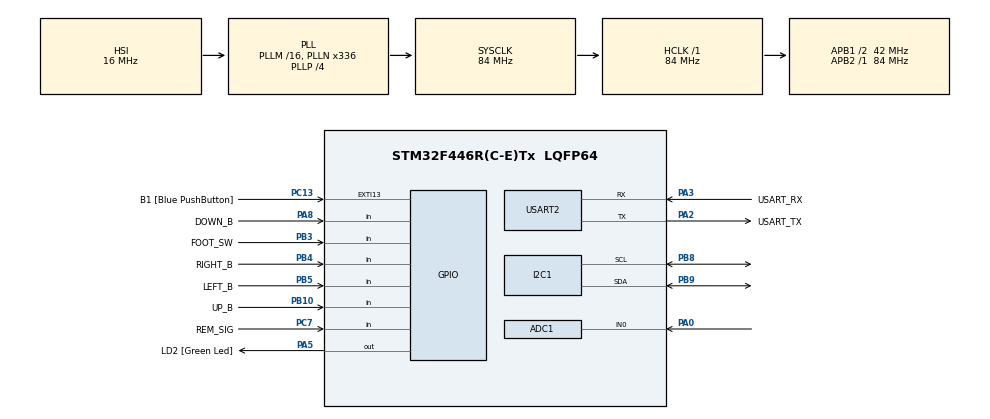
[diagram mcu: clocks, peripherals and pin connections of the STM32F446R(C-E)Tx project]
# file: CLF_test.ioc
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ADC1.Channel-0\#ChannelRegularConversion=ADC_CHANNEL_0
ADC1.ContinuousConvMode=ENABLE
ADC1.NbrOfConversionFlag=1
ADC1.Rank-0\#ChannelRegularConversion=1
ADC1.SamplingTime-0\#ChannelRegularConversion=ADC_SAMPLETIME_480CYCLES
ADC1.ScanConvMode=ENABLE
ADC1.master=1
Dma.ADC1.0.Direction=DMA_PERIPH_TO_MEMORY
Dma.ADC1.0.FIFOMode=DMA_FIFOMODE_DISABLE
Dma.ADC1.0.Instance=DMA2_Stream0
Dma.ADC1.0.MemDataAlignment=DMA_MDATAALIGN_HALFWORD
Dma.ADC1.0.MemInc=DMA_MINC_ENABLE
Dma.ADC1.0.Mode=DMA_CIRCULAR
Dma.ADC1.0.PeriphDataAlignment=DMA_PDATAALIGN_HALFWORD
Dma.ADC1.0.PeriphInc=DMA_PINC_DISABLE
Dma.ADC1.0.Priority=DMA_PRIORITY_LOW
Dma.Request0=ADC1
Mcu.Family=STM32F4
Mcu.Name=STM32F446R(C-E)Tx
Mcu.Package=LQFP64
NVIC.DMA2_Stream0_IRQn=true\:0\:0\:false\:false\:true\:false\:true\:true
NVIC.PriorityGroup=NVIC_PRIORITYGROUP_0
NVIC.TIM2_IRQn=true\:0\:0\:false\:false\:true\:true\:true\:true
PA0-WKUP.Signal=ADCx_IN0
PA13.GPIO_Label=TMS
PA13.Mode=Serial_Wire
PA13.Signal=SYS_JTMS-SWDIO
PA14.GPIO_Label=TCK
PA14.Mode=Serial_Wire
PA14.Signal=SYS_JTCK-SWCLK
PA2.GPIO_Label=USART_TX
PA2.Mode=Asynchronous
PA2.Signal=USART2_TX
PA3.GPIO_Label=USART_RX
PA3.Mode=Asynchronous
PA3.Signal=USART2_RX
PA5.GPIO_Label=LD2 [Green Led]
PA5.Signal=GPIO_Output
PA8.GPIO_Label=DOWN_B
PA8.GPIO_PuPd=GPIO_PULLUP
PA8.Signal=GPIO_Input
PB10.GPIO_Label=UP_B
PB10.GPIO_PuPd=GPIO_PULLUP
PB10.Signal=GPIO_Input
PB3.GPIO_Label=FOOT_SW
PB3.GPIO_PuPd=GPIO_PULLUP
PB3.Signal=GPIO_Input
PB4.GPIO_Label=RIGHT_B
PB4.GPIO_PuPd=GPIO_PULLUP
PB4.Signal=GPIO_Input
PB5.GPIO_Label=LEFT_B
PB5.GPIO_PuPd=GPIO_PULLUP
PB5.Signal=GPIO_Input
PB8.GPIO_Pu=GPIO_PULLUP
PB8.Mode=I2C
PB8.Signal=I2C1_SCL
PB9.GPIO_Pu=GPIO_PULLUP
PB9.Mode=I2C
PB9.Signal=I2C1_SDA
PC13.GPIO_Label=B1 [Blue PushButton]
PC13.GPIO_ModeDefaultEXTI=GPIO_MODE_IT_FALLING
PC13.Signal=GPXTI13
PC14-OSC32_IN.Mode=LSE-External-Oscillator
PC14-OSC32_IN.Signal=RCC_OSC32_IN
PC15-OSC32_OUT.Mode=LSE-External-Oscillator
PC15-OSC32_OUT.Signal=RCC_OSC32_OUT
PC7.GPIO_Label=REM_SIG
PC7.GPIO_PuPd=GPIO_PULLDOWN
PC7.Signal=GPIO_Input
PH0-OSC_IN.Mode=HSE-External-Oscillator
PH0-OSC_IN.Signal=RCC_OSC_IN
PH1-OSC_OUT.Mode=HSE-External-Oscillator
PH1-OSC_OUT.Signal=RCC_OSC_OUT
ProjectManager.HeapSize=0x200
ProjectManager.StackSize=0x400
ProjectManager.TargetToolchain=STM32CubeIDE
RCC.48MHZClocksFreq_Value=84000000
RCC.AHBFreq_Value=84000000
RCC.APB1CLKDivider=RCC_HCLK_DIV2
RCC.APB1Freq_Value=42000000
RCC.APB1TimFreq_Value=84000000
RCC.APB2Freq_Value=84000000
RCC.APB2TimFreq_Value=84000000
RCC.CortexFreq_Value=84000000
RCC.FLatency-AdvancedSettings=FLASH_LATENCY_2
RCC.HCLKFreq_Value=84000000
RCC.HSE_VALUE=8000000
RCC.HSI_VALUE=16000000
RCC.PLLN=336
RCC.PLLP=RCC_PLLP_DIV4
RCC.SYSCLKFreq_VALUE=84000000
RCC.SYSCLKSource=RCC_SYSCLKSOURCE_PLLCLK
RCC.USBFreq_Value=168000000
RCC.VCOOutputFreq_Value=336000000
SH.ADCx_IN0.0=ADC1_IN0,IN0
TIM2.Period=999
TIM2.Prescaler=83
USART2.VirtualMode=VM_ASYNC
VP_TIM2_VS_ClockSourceINT.Mode=Internal
board=NUCLEO-F446RE

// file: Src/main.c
/* USER CODE BEGIN Header */
/**
  ******************************************************************************
  * @file           : main.c
  * @brief          : Main program body
  ******************************************************************************
  * @attention
  *
  * <h2><center>&copy; Copyright (c) 2019 STMicroelectronics.
  * All rights reserved.</center></h2>
  *
  * This software component is licensed by ST under BSD 3-Clause license,
  * the "License"; You may not use this file except in compliance with the
  * License. You may obtain a copy of the License at:
  *                        opensource.org/licenses/BSD-3-Clause
  *
  ******************************************************************************
  */
/* USER CODE END Header */
#include "main.h"

/* USER CODE BEGIN Includes */
#include <stdio.h>
#include <math.h>
#include "ssd1306.h"
#include "fonts.h"
/* USER CODE END Includes */

ADC_HandleTypeDef hadc1;
DMA_HandleTypeDef hdma_adc1;

I2C_HandleTypeDef hi2c1;

TIM_HandleTypeDef htim2;

UART_HandleTypeDef huart2;

/* USER CODE BEGIN PV */
uint16_t adcValue[2];
long tim2_count=0;
float NormalizeParameter[2];
float threshold = 70;
float duration = 10;
float phase = 0;
float phase_ms = 0;
float inactive_time = 0;
float mode = 2;
char buf[32] = {};
/* USER CODE END PV */

void SystemClock_Config(void);
static void MX_GPIO_Init(void);
static void MX_DMA_Init(void);
static void MX_ADC1_Init(void);
static void MX_I2C1_Init(void);
static void MX_TIM2_Init(void);
static void MX_USART2_UART_Init(void);
/* USER CODE BEGIN PFP */
void HAL_TIM_PeriodElapsedCallback(TIM_HandleTypeDef *htim);
void SetUpNormalizeParameter(float NormalizeParameter[2]);
void DrawParameter(int count);
void UserSetUp(void);
/* USER CODE END PFP */

int main(void)
{

  /* MCU Configuration--------------------------------------------------------*/

  /* Reset of all peripherals, Initializes the Flash interface and the Systick. */
  HAL_Init();

  /* Configure the system clock */
  SystemClock_Config();

  /* Initialize all configured peripherals */
  MX_GPIO_Init();
  MX_DMA_Init();
  MX_ADC1_Init();
  MX_I2C1_Init();
  MX_TIM2_Init();
  MX_USART2_UART_Init();
  /* USER CODE BEGIN 2 */

  ssd1306_Init();

  HAL_ADC_Start_DMA(&hadc1,(uint32_t *)adcValue,2); //ADC-DMAを有効化

  HAL_Delay(1000);

  STARTUP_LABEL:

//  sprintf(buf, "START UP\r\n");
//  HAL_UART_Transmit(&huart2, (uint8_t*)buf, sizeof(buf), 10);

  UserSetUp(); //計測開始前設定処理
  SetUpNormalizeParameter(NormalizeParameter); //AD値の平均値と標準偏差を計算

  RESTART_LABEL:

//  sprintf(buf, "RESTART\r\n");
//  HAL_UART_Transmit(&huart2, (uint8_t*)buf, sizeof(buf), 10);

  /*------------Draw LCD BEGIN----------*/
  sprintf(buf, "ave=%d sd=%d", (int)(NormalizeParameter[0]),(int)(NormalizeParameter[1]));
  HAL_UART_Transmit(&huart2, (uint8_t*)buf, sizeof(buf), 0xFFF);

  ssd1306_Fill(White);

  ssd1306_SetCursor(0,0);
  ssd1306_WriteString(buf,Font_7x10,Black);

  sprintf(buf, "Waiting for start");
  ssd1306_SetCursor(0,12);
  ssd1306_WriteString(buf,Font_7x10,Black);

  ssd1306_UpdateScreen();
  /*------------Draw LCD END---------*/

  while(1){ // REMシグナル待ち (計測待機状態)
	  if(HAL_GPIO_ReadPin(GPIOC, REM_SIG_Pin) == 1){
		ssd1306_Fill(White);
		sprintf(buf, "RUNNING");
		ssd1306_SetCursor(0,0);
		ssd1306_WriteString(buf,Font_7x10,Black);
		ssd1306_UpdateScreen();
		HAL_Delay(300);
		break;
	  }
  }

  HAL_TIM_Base_Start_IT(&htim2); //タイマー割り込み機能を有効化 (つまり、割り込み関数である"ピークを発見したらパルスを生む関数"を有効化)
  /* USER CODE END 2 */

  /* Infinite loop */
  /* USER CODE BEGIN WHILE */
  while(1) { //REMシグナルが来ているときに実行する処理

    /* USER CODE END WHILE */

    /* USER CODE BEGIN 3 */
	  if(HAL_GPIO_ReadPin(GPIOC, REM_SIG_Pin) == 0){ //シグナルが終了したら
		HAL_TIM_Base_Stop_IT(&htim2); //タイマー割り込み機能をオフ(もうパルス出す必要ないもんね)
		HAL_Delay(300);
		HAL_GPIO_WritePin(LD2_GPIO_Port,LD2_Pin,RESET);
		goto RESTART_LABEL;
	  }
	  if(HAL_GPIO_ReadPin(GPIOB, RIGHT_B_Pin) == 0){ //右ボタンを押したら強制終了 & 設定に戻る  // <----------------------- ここにフットスイッチのif文の代わりに条件文を入れる
		  HAL_TIM_Base_Stop_IT(&htim2); //タイマー割り込み機能をオフ(もうパルス出す必要ないもんね)
		  HAL_Delay(300);
		  HAL_GPIO_WritePin(LD2_GPIO_Port,LD2_Pin,RESET);
		  goto STARTUP_LABEL;
	 }
  }
  /* USER CODE END 3 */
}

void SystemClock_Config(void)
{
  RCC_OscInitTypeDef RCC_OscInitStruct = {0};
  RCC_ClkInitTypeDef RCC_ClkInitStruct = {0};

  /** Configure the main internal regulator output voltage
  */
  __HAL_RCC_PWR_CLK_ENABLE();
  __HAL_PWR_VOLTAGESCALING_CONFIG(PWR_REGULATOR_VOLTAGE_SCALE3);

  /** Initializes the RCC Oscillators according to the specified parameters
  * in the RCC_OscInitTypeDef structure.
  */
  RCC_OscInitStruct.OscillatorType = RCC_OSCILLATORTYPE_HSI;
  RCC_OscInitStruct.HSIState = RCC_HSI_ON;
  RCC_OscInitStruct.HSICalibrationValue = RCC_HSICALIBRATION_DEFAULT;
  RCC_OscInitStruct.PLL.PLLState = RCC_PLL_ON;
  RCC_OscInitStruct.PLL.PLLSource = RCC_PLLSOURCE_HSI;
  RCC_OscInitStruct.PLL.PLLM = 16;
  RCC_OscInitStruct.PLL.PLLN = 336;
  RCC_OscInitStruct.PLL.PLLP = RCC_PLLP_DIV4;
  RCC_OscInitStruct.PLL.PLLQ = 2;
  RCC_OscInitStruct.PLL.PLLR = 2;
  if (HAL_RCC_OscConfig(&RCC_OscInitStruct) != HAL_OK)
  {
    Error_Handler();
  }

  /** Initializes the CPU, AHB and APB buses clocks
  */
  RCC_ClkInitStruct.ClockType = RCC_CLOCKTYPE_HCLK|RCC_CLOCKTYPE_SYSCLK
                              |RCC_CLOCKTYPE_PCLK1|RCC_CLOCKTYPE_PCLK2;
  RCC_ClkInitStruct.SYSCLKSource = RCC_SYSCLKSOURCE_PLLCLK;
  RCC_ClkInitStruct.AHBCLKDivider = RCC_SYSCLK_DIV1;
  RCC_ClkInitStruct.APB1CLKDivider = RCC_HCLK_DIV2;
  RCC_ClkInitStruct.APB2CLKDivider = RCC_HCLK_DIV1;

  if (HAL_RCC_ClockConfig(&RCC_ClkInitStruct, FLASH_LATENCY_2) != HAL_OK)
  {
    Error_Handler();
  }
}

static void MX_ADC1_Init(void)
{

  ADC_ChannelConfTypeDef sConfig = {0};

  /** Configure the global features of the ADC (Clock, Resolution, Data Alignment and number of conversion)
  */
  hadc1.Instance = ADC1;
  hadc1.Init.ClockPrescaler = ADC_CLOCK_SYNC_PCLK_DIV4;
  hadc1.Init.Resolution = ADC_RESOLUTION_12B;
  hadc1.Init.ScanConvMode = ENABLE;
  hadc1.Init.ContinuousConvMode = ENABLE;
  hadc1.Init.DiscontinuousConvMode = DISABLE;
  hadc1.Init.ExternalTrigConvEdge = ADC_EXTERNALTRIGCONVEDGE_NONE;
  hadc1.Init.ExternalTrigConv = ADC_SOFTWARE_START;
  hadc1.Init.DataAlign = ADC_DATAALIGN_RIGHT;
  hadc1.Init.NbrOfConversion = 1;
  hadc1.Init.DMAContinuousRequests = DISABLE;
  hadc1.Init.EOCSelection = ADC_EOC_SINGLE_CONV;
  if (HAL_ADC_Init(&hadc1) != HAL_OK)
  {
    Error_Handler();
  }

  /** Configure for the selected ADC regular channel its corresponding rank in the sequencer and its sample time.
  */
  sConfig.Channel = ADC_CHANNEL_0;
  sConfig.Rank = 1;
  sConfig.SamplingTime = ADC_SAMPLETIME_480CYCLES;
  if (HAL_ADC_ConfigChannel(&hadc1, &sConfig) != HAL_OK)
  {
    Error_Handler();
  }
  /* USER CODE BEGIN ADC1_Init 2 */
  hadc1.Init.DMAContinuousRequests = ENABLE;
  if (HAL_ADC_Init(&hadc1) != HAL_OK)
  {
    Error_Handler();
  }
  /* USER CODE END ADC1_Init 2 */

}

static void MX_I2C1_Init(void)
{

  hi2c1.Instance = I2C1;
  hi2c1.Init.ClockSpeed = 100000;
  hi2c1.Init.DutyCycle = I2C_DUTYCYCLE_2;
  hi2c1.Init.OwnAddress1 = 0;
  hi2c1.Init.AddressingMode = I2C_ADDRESSINGMODE_7BIT;
  hi2c1.Init.DualAddressMode = I2C_DUALADDRESS_DISABLE;
  hi2c1.Init.OwnAddress2 = 0;
  hi2c1.Init.GeneralCallMode = I2C_GENERALCALL_DISABLE;
  hi2c1.Init.NoStretchMode = I2C_NOSTRETCH_DISABLE;
  if (HAL_I2C_Init(&hi2c1) != HAL_OK)
  {
    Error_Handler();
  }

}

static void MX_TIM2_Init(void)
{

  TIM_ClockConfigTypeDef sClockSourceConfig = {0};
  TIM_MasterConfigTypeDef sMasterConfig = {0};

  htim2.Instance = TIM2;
  htim2.Init.Prescaler = 83;
  htim2.Init.CounterMode = TIM_COUNTERMODE_UP;
  htim2.Init.Period = 999;
  htim2.Init.ClockDivision = TIM_CLOCKDIVISION_DIV1;
  htim2.Init.AutoReloadPreload = TIM_AUTORELOAD_PRELOAD_DISABLE;
  if (HAL_TIM_Base_Init(&htim2) != HAL_OK)
  {
    Error_Handler();
  }
  sClockSourceConfig.ClockSource = TIM_CLOCKSOURCE_INTERNAL;
  if (HAL_TIM_ConfigClockSource(&htim2, &sClockSourceConfig) != HAL_OK)
  {
    Error_Handler();
  }
  sMasterConfig.MasterOutputTrigger = TIM_TRGO_RESET;
  sMasterConfig.MasterSlaveMode = TIM_MASTERSLAVEMODE_DISABLE;
  if (HAL_TIMEx_MasterConfigSynchronization(&htim2, &sMasterConfig) != HAL_OK)
  {
    Error_Handler();
  }

}

static void MX_USART2_UART_Init(void)
{

  huart2.Instance = USART2;
  huart2.Init.BaudRate = 115200;
  huart2.Init.WordLength = UART_WORDLENGTH_8B;
  huart2.Init.StopBits = UART_STOPBITS_1;
  huart2.Init.Parity = UART_PARITY_NONE;
  huart2.Init.Mode = UART_MODE_TX_RX;
  huart2.Init.HwFlowCtl = UART_HWCONTROL_NONE;
  huart2.Init.OverSampling = UART_OVERSAMPLING_16;
  if (HAL_UART_Init(&huart2) != HAL_OK)
  {
    Error_Handler();
  }

}

static void MX_DMA_Init(void)
{

  /* DMA controller clock enable */
  __HAL_RCC_DMA2_CLK_ENABLE();

  /* DMA interrupt init */
  /* DMA2_Stream0_IRQn interrupt configuration */
  HAL_NVIC_SetPriority(DMA2_Stream0_IRQn, 0, 0);
  HAL_NVIC_EnableIRQ(DMA2_Stream0_IRQn);

}

static void MX_GPIO_Init(void)
{
  GPIO_InitTypeDef GPIO_InitStruct = {0};

  /* GPIO Ports Clock Enable */
  __HAL_RCC_GPIOC_CLK_ENABLE();
  __HAL_RCC_GPIOH_CLK_ENABLE();
  __HAL_RCC_GPIOA_CLK_ENABLE();
  __HAL_RCC_GPIOB_CLK_ENABLE();

  /*Configure GPIO pin Output Level */
  HAL_GPIO_WritePin(LD2_GPIO_Port, LD2_Pin, GPIO_PIN_RESET);

  /*Configure GPIO pin : B1_Pin */
  GPIO_InitStruct.Pin = B1_Pin;
  GPIO_InitStruct.Mode = GPIO_MODE_IT_FALLING;
  GPIO_InitStruct.Pull = GPIO_NOPULL;
  HAL_GPIO_Init(B1_GPIO_Port, &GPIO_InitStruct);

  /*Configure GPIO pin : LD2_Pin */
  GPIO_InitStruct.Pin = LD2_Pin;
  GPIO_InitStruct.Mode = GPIO_MODE_OUTPUT_PP;
  GPIO_InitStruct.Pull = GPIO_NOPULL;
  GPIO_InitStruct.Speed = GPIO_SPEED_FREQ_LOW;
  HAL_GPIO_Init(LD2_GPIO_Port, &GPIO_InitStruct);

  /*Configure GPIO pins : UP_B_Pin FOOT_SW_Pin RIGHT_B_Pin LEFT_B_Pin */
  GPIO_InitStruct.Pin = UP_B_Pin|FOOT_SW_Pin|RIGHT_B_Pin|LEFT_B_Pin;
  GPIO_InitStruct.Mode = GPIO_MODE_INPUT;
  GPIO_InitStruct.Pull = GPIO_PULLUP;
  HAL_GPIO_Init(GPIOB, &GPIO_InitStruct);

  /*Configure GPIO pin : REM_SIG_Pin */
  GPIO_InitStruct.Pin = REM_SIG_Pin;
  GPIO_InitStruct.Mode = GPIO_MODE_INPUT;
  GPIO_InitStruct.Pull = GPIO_PULLDOWN;
  HAL_GPIO_Init(REM_SIG_GPIO_Port, &GPIO_InitStruct);

  /*Configure GPIO pin : DOWN_B_Pin */
  GPIO_InitStruct.Pin = DOWN_B_Pin;
  GPIO_InitStruct.Mode = GPIO_MODE_INPUT;
  GPIO_InitStruct.Pull = GPIO_PULLUP;
  HAL_GPIO_Init(DOWN_B_GPIO_Port, &GPIO_InitStruct);

}

/* USER CODE BEGIN 4 */
void HAL_TIM_PeriodElapsedCallback(TIM_HandleTypeDef *htim){ //タイマー割り込みによって呼び出されるコールバック関数
	static long phase_tim = 0;
	static int phase_flag = 0;
	static float d1;
	static float d2;
	static float d3;

	if(htim->Instance == TIM2){ //割り込みするタイマーがtim2だった場合の処理
		d1 = d2;
		d2 = d3;
		d3 = (adcValue[0] - NormalizeParameter[0])/ NormalizeParameter[1]; //Z得点(平均50,標準偏差10の値域に変換したものつまり偏差値)

		if(d2 > threshold/100.0f && d1 < d2 && d2 > d3 && tim2_count > 100 && tim2_count > inactive_time && ((int)mode % 2) == 0){ //peak detect
			//HAL_GPIO_WritePin(LD2_GPIO_Port,LD2_Pin,SET);
			tim2_count = 0;
			phase_flag = 1;
			phase_tim = 0;

		}else if(d2 < threshold/100.0f && d1 > d2 && d2 < d3 && tim2_count > 100 && tim2_count > inactive_time && ((int)mode % 2) == 1){ //trough detect
			//HAL_GPIO_WritePin(LD2_GPIO_Port,LD2_Pin,SET);
			tim2_count = 0;
			phase_flag = 1;
			phase_tim = 0;

		}

		if(HAL_GPIO_ReadPin(LD2_GPIO_Port, LD2_Pin) == 0 && phase_flag == 1 && phase_tim > phase_ms){ //phase passed
			HAL_GPIO_WritePin(LD2_GPIO_Port,LD2_Pin,SET);
		}else if(phase_flag == 1 && phase_tim > phase_ms + duration){ //phase+duration passed
			HAL_GPIO_WritePin(LD2_GPIO_Port,LD2_Pin,RESET);
			phase_flag = 0;
			phase_tim = 0;
		}

		/*こっから玉井の試験用プログラム*/

//		if(phase_tim > phase_ms){ //phase passed
//			HAL_GPIO_WritePin(LD2_GPIO_Port,LD2_Pin,SET);
//
//			sprintf(buf, "phase_tim > phase_ms : %lo > %lo \r\n", phase_tim, phase_ms);
//			HAL_UART_Transmit(&huart2, (uint8_t*)buf, sizeof(buf), 10);
//		}
//
//		if(phase_tim > phase_ms + duration){ //phase+duration passed
//			HAL_GPIO_WritePin(LD2_GPIO_Port,LD2_Pin,RESET);
//			phase_flag = 0;
//			phase_tim = 0;
//			HAL_Delay(500);
//
//			sprintf(buf, "phase_tim > phase_ms + duration : %lo > %lo \r\n", phase_tim, phase_ms+duration);
//			HAL_UART_Transmit(&huart2, (uint8_t*)buf, sizeof(buf), 10);
//		}

		/*ここまで玉井の試験用プログラム*/

	}
	tim2_count++;
	phase_tim++; //UserSetUpで事前に設定した位相遅らせ時間phaseとパルス幅durationの合計を超えるまでカウンターを回し続ける。
}

void SetUpNormalizeParameter(float NormalizeParameter[2]){
	float data[4096] = {0};
	long sum = 0;
	for(int i = 0; i < 4096; i++){
		data[i] = adcValue[0];
		sum += data[i];
		HAL_Delay(1);/*こっから玉井の試験用プログラム*/
	}
	NormalizeParameter[0] = sum/4096.0f; //adcのデータの平均値
	sum = 0;
	for(int i = 0; i < 4096; i++){
		sum += pow(data[i] - NormalizeParameter[0],2);
	}
	NormalizeParameter[1] = pow(sum/4096.0f,0.5); //adcのデータの標準偏差
}

void DrawParameter(int count){
	char buf[32] = {};

	ssd1306_Fill(White);

	ssd1306_SetCursor(0,0);
	sprintf(buf,"%sth=%d [%%]",count==0?"*":" ", (int)threshold);
	ssd1306_WriteString(buf,Font_7x10,Black);

	ssd1306_SetCursor(0,12);
	sprintf(buf,"%sdu=%d [ms]",count==1?"*":" ", (int)duration);
	ssd1306_WriteString(buf,Font_7x10,Black);

	ssd1306_SetCursor(0,24);
	sprintf(buf,"%sph=%d [deg]",count==2?"*":" ", (int)phase);
	ssd1306_WriteString(buf,Font_7x10,Black);

	ssd1306_SetCursor(0,36);
	sprintf(buf,"%sinactive=%d [ms]",count==3?"*":" ", (int)inactive_time);
	ssd1306_WriteString(buf,Font_7x10,Black);

	ssd1306_SetCursor(0,48);
	sprintf(buf,"%smode=%s ",count==4?"*":" ",  ((int)mode % 2) == 1 ? "trough":"peak");
	ssd1306_WriteString(buf,Font_7x10,Black);

	ssd1306_UpdateScreen();
}

void UserSetUp(void){ //計測開始前設定処理

	  char buf[32] = {};
	  int count = 0;
	  float *param_pointer;
	  param_pointer = &threshold;

	  ssd1306_Fill(White);
	  ssd1306_UpdateScreen();
	  DrawParameter(0);

	  while(1){ //プッシュボタンによるモード・閾値設定
		if(HAL_GPIO_ReadPin(GPIOB, UP_B_Pin) == 0){ //UP button
			switch(count){
				case 0:
					*param_pointer += 1.0f; //change value of destination of pointer
					break;
				case 2:
					*param_pointer += 10.0f;
					break;
				case 3:
					*param_pointer += 100.0f;
					break;
				default:
					*param_pointer += 1.0f;
					break;
			}
			DrawParameter(count);

		}else if(HAL_GPIO_ReadPin(DOWN_B_GPIO_Port, DOWN_B_Pin) == 0){ //down button
			switch(count){
				case 0:
					*param_pointer -= 1.0f;
					break;
				case 2:
					*param_pointer -= 10.0f;
					break;
				case 3:
					*param_pointer -= 100.0f;
					break;
				default:
					*param_pointer -= 1.0f;
					break;
			}
			DrawParameter(count);

		}else if(HAL_GPIO_ReadPin(GPIOB, LEFT_B_Pin) == 0){ //left button pressed
			count++;
			switch(count){
				case 0:
					param_pointer = &threshold; //change pointer destination
					DrawParameter(count);
					break;
				case 1:
					param_pointer = &duration;
					DrawParameter(count);
					break;
				case 2:
					param_pointer = &phase;
					DrawParameter(count);
					break;
				case 3:
					param_pointer = &inactive_time;
					DrawParameter(count);
					break;
				case 4:
					param_pointer = &mode;
					DrawParameter(count);
					break;
				default:
					param_pointer = &threshold;
					count = 0;
					DrawParameter(count);
					break;
			}
			HAL_Delay(100);
		}else if(HAL_GPIO_ReadPin(GPIOB, RIGHT_B_Pin) == 0){
			sprintf(buf,"Setting Complete");
			ssd1306_Fill(White);
			ssd1306_SetCursor(0,0);
			ssd1306_WriteString(buf,Font_7x10,Black);

			sprintf(buf,"Waiting for Learning");
			ssd1306_SetCursor(0,12);
			ssd1306_WriteString(buf,Font_7x10,Black);

			ssd1306_UpdateScreen();
			HAL_Delay(500);
			break;
		}
	  }
	  while(1){
		  if(HAL_GPIO_ReadPin(GPIOB, RIGHT_B_Pin) == 0){
			  sprintf(buf,"Learning...");
			  ssd1306_Fill(White);
			  ssd1306_SetCursor(0,0);
			  ssd1306_WriteString(buf,Font_7x10,Black);
			  ssd1306_UpdateScreen();
			  break;
		  }
	  }
	  phase_ms = (phase/360.0f)*142.0f;
}

/* USER CODE END 4 */

void Error_Handler(void)
{
}
